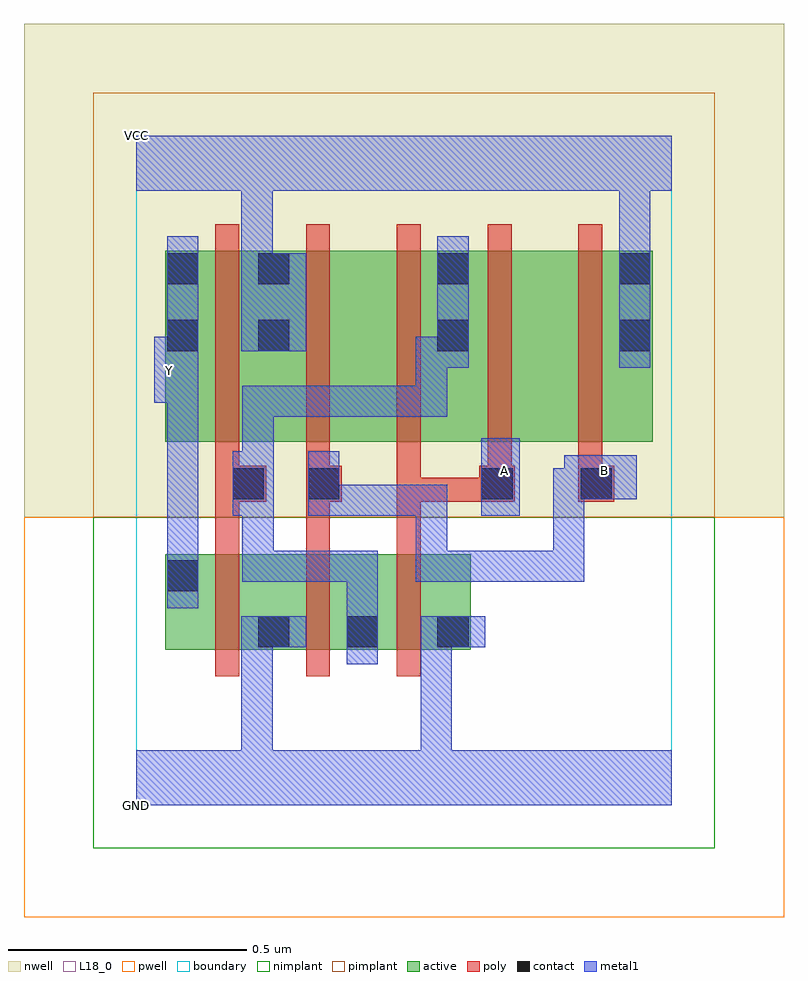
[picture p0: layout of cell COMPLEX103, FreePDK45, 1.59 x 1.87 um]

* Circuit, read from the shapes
.subckt COMPLEX103 A B GND VCC Y
M1 GND n1 Y VSUBS nfet w=0.2u l=0.05u
M2 n1 B GND VSUBS nfet w=0.2u l=0.05u
M3 GND A n1 VSUBS nfet w=0.2u l=0.05u
M4 VCC n1 Y n2 pfet w=0.4u l=0.05u
M5 n3 B VCC n2 pfet w=0.4u l=0.05u
M6 n1 A n3 n2 pfet w=0.4u l=0.05u
M7 n4 A n1 n2 pfet w=0.4u l=0.05u
M8 VCC B n4 n2 pfet w=0.4u l=0.05u
.ends

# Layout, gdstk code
import gdstk
lib = gdstk.Library(unit=1e-6, precision=1e-09)
def R(c, l, rs):  # rectangles x0, y0, x1, y1
    for r in rs: c.add(gdstk.rectangle(r[:2], r[2:], *l))
def A(c, l, x, y, w, h, nx, ny, dx, dy):  # array of equal rectangles
    R(c, l, [(x+i*dx, y+j*dy, x+i*dx+w, y+j*dy+h) for i in range(nx) for j in range(ny)])
active = (1, 0)
pwell = (2, 0)
nwell = (3, 0)
nimplant = (4, 0)
pimplant = (5, 0)
poly = (9, 0)
contact = (10, 0)
metal1 = (11, 0)
L18_0 = (18, 0)
boundary = (235, 0)

complex103 = lib.new_cell('COMPLEX103')
R(complex103, active, [(0.06,0.325,0.135,0.525), (0.06,0.325,0.325,0.525), (0.25,0.325,0.325,0.525), (0.25,0.325,0.51,0.525), (0.435,0.325,0.51,0.525), (0.435,0.325,0.7,0.525), (0.625,0.325,0.7,0.525), (0.06,0.76,0.135,1.16), (0.06,0.76,0.325,1.16), (0.25,0.76,0.325,1.16), (0.25,0.76,0.475,1.16), (0.475,0.76,0.7,1.16), (0.625,0.76,0.7,1.16), (0.625,0.76,0.855,1.16), (0.855,0.76,1.08,1.16), (1.005,0.76,1.08,1.16)])
R(complex103, pwell, [(-0.235,-0.235,1.355,0.602)])
R(complex103, nwell, [(-0.235,0.602,1.355,1.635)])
R(complex103, nimplant, [(-0.09,-0.09,1.21,0.602)])
R(complex103, pimplant, [(-0.09,0.602,1.21,1.49)])
A(complex103, poly, 0.165, 0.27, 0.05, 0.31, 3, 1, 0.19, 0)
A(complex103, poly, 0.165, 0.53, 0.05, 0.155, 3, 1, 0.19, 0)
A(complex103, poly, 0.165, 0.705, 0.05, 0.51, 5, 1, 0.19, 0)
R(complex103, poly, [(0.165,0.635,0.272,0.71), (0.355,0.635,0.43,0.71), (0.545,0.635,0.595,0.685), (0.545,0.635,0.767,0.685), (0.545,0.635,0.595,0.755), (0.717,0.635,0.792,0.71), (0.717,0.635,0.767,0.685), (0.717,0.635,0.767,0.685), (0.925,0.635,1,0.71), (0.165,0.66,0.215,0.755), (0.355,0.66,0.405,0.755), (0.735,0.66,0.785,0.755), (0.925,0.66,0.975,0.755)])
R(complex103, contact, [(0.255,0.33,0.32,0.395), (0.44,0.33,0.505,0.395), (0.63,0.33,0.695,0.395), (0.065,0.447,0.13,0.512), (0.202,0.64,0.267,0.705), (0.36,0.64,0.425,0.705), (0.722,0.64,0.787,0.705), (0.93,0.64,0.995,0.705), (0.065,0.95,0.13,1.015), (0.255,0.95,0.32,1.015), (0.63,0.95,0.695,1.015), (1.01,0.95,1.075,1.015), (0.065,1.09,0.13,1.155), (0.255,1.09,0.32,1.155), (0.63,1.09,0.695,1.155), (1.01,1.09,1.075,1.155)])
R(complex103, metal1, [(0,0,1.12,0.115), (0.22,0.05,0.285,0.115), (0.22,0.05,0.285,0.115), (0.22,0.05,0.285,0.115), (0.22,0.05,0.285,0.115), (0.22,0.05,0.285,0.395), (0.595,0.05,0.66,0.115), (0.595,0.05,0.66,0.115), (0.595,0.05,0.66,0.115), (0.595,0.05,0.66,0.115), (0.595,0.05,0.66,0.395), (0.44,0.295,0.505,0.43), (0.22,0.33,0.355,0.395), (0.595,0.33,0.73,0.395), (0.44,0.365,0.505,0.43), (0.44,0.365,0.505,0.532), (0.065,0.412,0.13,0.547), (0.222,0.467,0.287,0.532), (0.222,0.467,0.287,0.67), (0.222,0.467,0.505,0.532), (0.585,0.467,0.65,0.532), (0.585,0.467,0.822,0.532), (0.585,0.467,0.65,0.67), (0.757,0.467,0.822,0.532), (0.757,0.467,0.937,0.532), (0.872,0.467,0.937,0.532), (0.872,0.467,0.937,0.705), (0.065,0.482,0.13,0.907), (0.202,0.605,0.267,0.74), (0.202,0.605,0.287,0.67), (0.222,0.605,0.287,0.67), (0.222,0.605,0.287,0.877), (0.36,0.605,0.425,0.67), (0.36,0.605,0.425,0.67), (0.36,0.605,0.65,0.67), (0.36,0.605,0.425,0.74), (0.585,0.605,0.65,0.67), (0.585,0.605,0.65,0.67), (0.585,0.605,0.65,0.67), (0.722,0.605,0.802,0.767), (0.872,0.64,0.937,0.705), (0.872,0.64,0.96,0.705), (0.895,0.64,1.047,0.732), (0.222,0.812,0.287,0.877), (0.222,0.812,0.512,0.877), (0.447,0.812,0.512,0.877), (0.447,0.812,0.512,0.877), (0.447,0.812,0.512,0.877), (0.447,0.812,0.65,0.877), (0.585,0.812,0.65,0.98), (0.037,0.842,0.13,0.98), (0.065,0.915,0.13,0.98), (0.065,0.915,0.13,1.19), (0.585,0.915,0.695,0.98), (0.63,0.915,0.695,1.19), (1.01,0.915,1.075,1.19), (0.22,0.95,0.355,1.155), (0.22,1.09,0.285,1.155), (0.22,1.09,0.285,1.155), (0.22,1.09,0.285,1.35), (1.01,1.125,1.075,1.35), (0,1.285,1.12,1.4), (1.01,1.285,1.075,1.35), (1.01,1.285,1.075,1.35)])
R(complex103, L18_0, [(0,0,1.12,0.115), (0.22,0.05,0.285,0.115), (0.22,0.05,0.285,0.115), (0.22,0.05,0.285,0.115), (0.22,0.05,0.285,0.115), (0.22,0.05,0.285,0.395), (0.595,0.05,0.66,0.115), (0.595,0.05,0.66,0.115), (0.595,0.05,0.66,0.115), (0.595,0.05,0.66,0.115), (0.595,0.05,0.66,0.395), (0.22,0.33,0.355,0.395), (0.595,0.33,0.73,0.395), (0.065,0.412,0.13,0.547), (0.585,0.467,0.65,0.532), (0.585,0.467,0.65,0.67), (0.585,0.467,0.822,0.532), (0.757,0.467,0.822,0.532), (0.757,0.467,0.937,0.532), (0.872,0.467,0.937,0.532), (0.872,0.467,0.937,0.705), (0.065,0.482,0.13,0.907), (0.36,0.605,0.425,0.74), (0.36,0.605,0.425,0.67), (0.36,0.605,0.425,0.67), (0.36,0.605,0.65,0.67), (0.585,0.605,0.65,0.67), (0.585,0.605,0.65,0.67), (0.585,0.605,0.65,0.67), (0.722,0.605,0.802,0.767), (0.872,0.64,0.937,0.705), (0.872,0.64,0.96,0.705), (0.895,0.64,1.047,0.732), (0.737,0.667,0.802,0.732), (0.947,0.667,1.012,0.732), (0.037,0.842,0.13,0.98), (0.037,0.877,0.102,0.942), (0.065,0.915,0.13,1.19), (0.065,0.915,0.13,0.98), (1.01,0.915,1.075,1.19), (0.22,0.95,0.355,1.155), (0.22,1.09,0.285,1.155), (0.22,1.09,0.285,1.155), (0.22,1.09,0.285,1.35), (1.01,1.125,1.075,1.35), (0,1.285,1.12,1.4), (1.01,1.285,1.075,1.35), (1.01,1.285,1.075,1.35)])
R(complex103, boundary, [(0,0,1.12,1.4)])
complex103.add(gdstk.Label('A', (0.77,0.7), layer=11, texttype=0))
complex103.add(gdstk.Label('B', (0.98,0.7), layer=11, texttype=0))
complex103.add(gdstk.Label('Y', (0.07,0.91), layer=11, texttype=0))
complex103.add(gdstk.Label('VCC', (0,1.4), layer=11, texttype=0))
complex103.add(gdstk.Label('GND', (0,0), layer=11, texttype=0))

lib.write_gds('COMPLEX103.gds')
